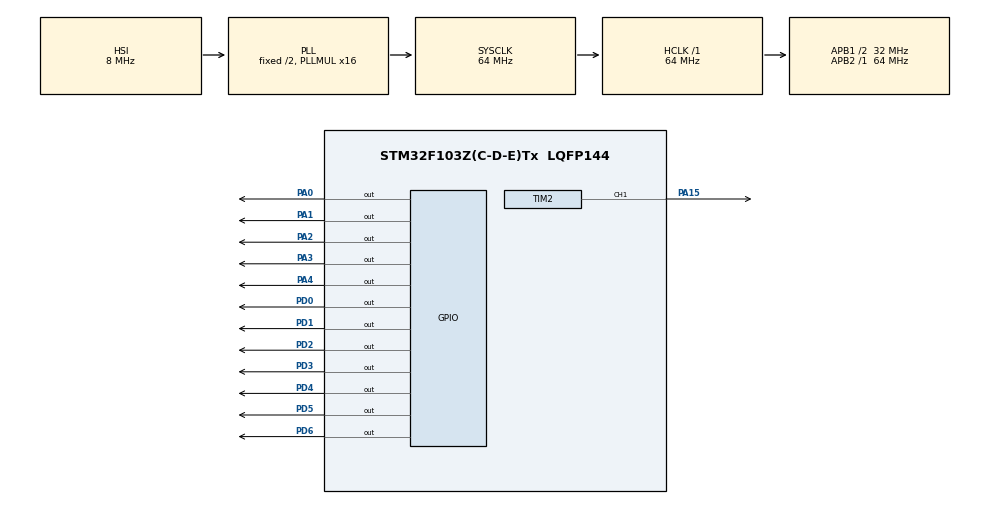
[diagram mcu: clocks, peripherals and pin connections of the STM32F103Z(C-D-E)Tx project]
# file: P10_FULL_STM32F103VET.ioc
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Mcu.Family=STM32F1
Mcu.Name=STM32F103Z(C-D-E)Tx
Mcu.Package=LQFP144
NVIC.PriorityGroup=NVIC_PRIORITYGROUP_4
NVIC.TIM1_UP_IRQn=true\:0\:0\:false\:false\:true\:true
OSC_IN.Mode=HSE-External-Oscillator
OSC_IN.Signal=RCC_OSC_IN
OSC_OUT.Mode=HSE-External-Oscillator
OSC_OUT.Signal=RCC_OSC_OUT
PA0-WKUP.GPIO_Speed=GPIO_SPEED_FREQ_HIGH
PA0-WKUP.PinState=GPIO_PIN_SET
PA0-WKUP.Signal=GPIO_Output
PA1.GPIO_Speed=GPIO_SPEED_FREQ_HIGH
PA1.PinState=GPIO_PIN_SET
PA1.Signal=GPIO_Output
PA13.Mode=Serial_Wire
PA13.Signal=SYS_JTMS-SWDIO
PA14.Mode=Serial_Wire
PA14.Signal=SYS_JTCK-SWCLK
PA15.Signal=S_TIM2_CH1_ETR
PA2.GPIO_Speed=GPIO_SPEED_FREQ_HIGH
PA2.PinState=GPIO_PIN_SET
PA2.Signal=GPIO_Output
PA3.GPIO_Speed=GPIO_SPEED_FREQ_HIGH
PA3.PinState=GPIO_PIN_SET
PA3.Signal=GPIO_Output
PA4.GPIO_Speed=GPIO_SPEED_FREQ_HIGH
PA4.PinState=GPIO_PIN_SET
PA4.Signal=GPIO_Output
PD0.GPIO_Speed=GPIO_SPEED_FREQ_HIGH
PD0.PinState=GPIO_PIN_SET
PD0.Signal=GPIO_Output
PD1.GPIO_Speed=GPIO_SPEED_FREQ_HIGH
PD1.PinState=GPIO_PIN_SET
PD1.Signal=GPIO_Output
PD2.GPIO_Speed=GPIO_SPEED_FREQ_HIGH
PD2.PinState=GPIO_PIN_SET
PD2.Signal=GPIO_Output
PD3.GPIO_Speed=GPIO_SPEED_FREQ_HIGH
PD3.PinState=GPIO_PIN_SET
PD3.Signal=GPIO_Output
PD4.GPIO_Speed=GPIO_SPEED_FREQ_HIGH
PD4.PinState=GPIO_PIN_SET
PD4.Signal=GPIO_Output
PD5.GPIO_Speed=GPIO_SPEED_FREQ_HIGH
PD5.PinState=GPIO_PIN_SET
PD5.Signal=GPIO_Output
PD6.GPIO_Speed=GPIO_SPEED_FREQ_HIGH
PD6.PinState=GPIO_PIN_SET
PD6.Signal=GPIO_Output
ProjectManager.HeapSize=0x200
ProjectManager.StackSize=0x400
ProjectManager.TargetToolchain=MDK-ARM V5
RCC.AHBFreq_Value=64000000
RCC.APB1CLKDivider=RCC_HCLK_DIV2
RCC.APB1Freq_Value=32000000
RCC.APB1TimFreq_Value=64000000
RCC.APB2Freq_Value=64000000
RCC.APB2TimFreq_Value=64000000
RCC.HCLKFreq_Value=64000000
RCC.PLLMUL=RCC_PLL_MUL16
RCC.SYSCLKFreq_VALUE=64000000
RCC.SYSCLKSource=RCC_SYSCLKSOURCE_PLLCLK
RCC.USBFreq_Value=64000000
RTC.Date=7
RTC.Format=RTC_FORMAT_BIN
RTC.Hours=12
RTC.Month=RTC_MONTH_APRIL
RTC.OutPut=RTC_OUTPUTSOURCE_CALIBCLOCK
RTC.WeekDay=RTC_WEEKDAY_TUESDAY
RTC.Year=20
SH.S_TIM2_CH1_ETR.0=TIM2_CH1,Output Compare1 CH1
TIM1.CounterMode=TIM_COUNTERMODE_DOWN
TIM1.Period=40
TIM1.Prescaler=5
TIM2.Channel-Output\ Compare1\ CH1=TIM_CHANNEL_1
TIM2.Period=100
VP_RTC_VS_RTC_Activate.Mode=RTC_Enabled
VP_RTC_VS_RTC_Calendar.Mode=RTC_Calendar
VP_TIM1_VS_ClockSourceINT.Mode=Internal
VP_TIM2_VS_ClockSourceINT.Mode=Internal
board=custom

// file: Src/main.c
/* USER CODE BEGIN Header */
/**
  ******************************************************************************
  * @file           : main.c
  * @brief          : Main program body
  ******************************************************************************
  ** This notice applies to any and all portions of this file
  * that are not between comment pairs USER CODE BEGIN and
  * USER CODE END. Other portions of this file, whether
  * inserted by the user or by software development tools
  * are owned by their respective copyright owners.
  *
  * COPYRIGHT(c) 2020 STMicroelectronics
  *
  * Redistribution and use in source and binary forms, with or without modification,
  * are permitted provided that the following conditions are met:
  *   1. Redistributions of source code must retain the above copyright notice,
  *      this list of conditions and the following disclaimer.
  *   2. Redistributions in binary form must reproduce the above copyright notice,
  *      this list of conditions and the following disclaimer in the documentation
  *      and/or other materials provided with the distribution.
  *   3. Neither the name of STMicroelectronics nor the names of its contributors
  *      may be used to endorse or promote products derived from this software
  *      without specific prior written permission.
  *
  * THIS SOFTWARE IS PROVIDED BY THE COPYRIGHT HOLDERS AND CONTRIBUTORS "AS IS"
  * AND ANY EXPRESS OR IMPLIED WARRANTIES, INCLUDING, BUT NOT LIMITED TO, THE
  * IMPLIED WARRANTIES OF MERCHANTABILITY AND FITNESS FOR A PARTICULAR PURPOSE ARE
  * DISCLAIMED. IN NO EVENT SHALL THE COPYRIGHT HOLDER OR CONTRIBUTORS BE LIABLE
  * FOR ANY DIRECT, INDIRECT, INCIDENTAL, SPECIAL, EXEMPLARY, OR CONSEQUENTIAL
  * DAMAGES (INCLUDING, BUT NOT LIMITED TO, PROCUREMENT OF SUBSTITUTE GOODS OR
  * SERVICES; LOSS OF USE, DATA, OR PROFITS; OR BUSINESS INTERRUPTION) HOWEVER
  * CAUSED AND ON ANY THEORY OF LIABILITY, WHETHER IN CONTRACT, STRICT LIABILITY,
  * OR TORT (INCLUDING NEGLIGENCE OR OTHERWISE) ARISING IN ANY WAY OUT OF THE USE
  * OF THIS SOFTWARE, EVEN IF ADVISED OF THE POSSIBILITY OF SUCH DAMAGE.
  *
  ******************************************************************************
  */
/* USER CODE END Header */

#include "main.h"

/* USER CODE BEGIN Includes */
#include "p10_fullmau.h"
#include "mario.h"

/* USER CODE END Includes */

RTC_HandleTypeDef hrtc;

TIM_HandleTypeDef htim1;
TIM_HandleTypeDef htim2;

void SystemClock_Config(void);
static void MX_GPIO_Init(void);
static void MX_TIM1_Init(void);
static void MX_TIM2_Init(void);
static void MX_RTC_Init(void);

/* USER CODE BEGIN 0 */

#define gioihanfirework 35
unsigned char mangbanphao[10]={gioihanfirework,gioihanfirework,gioihanfirework},mangphunphao[10]={0,0,0},pre_y[10],pre_x[10],checkFireWork=0,checkFunfao=0;

void firework(unsigned char x,unsigned char y, unsigned char  vt,unsigned char r,unsigned char g,unsigned char b){

	if(checkFireWork==1){
			MATRIX_circle(pre_y[vt],x,1,1,0,0,0);
			MATRIX_pixel_color(pre_y[vt]+1,x,0,0,0);
			MATRIX_pixel_color(pre_y[vt]+2,x,0,0,0);
			MATRIX_pixel_color(pre_y[vt]+3,x,0,0,0);
	}
	MATRIX_circle(mangbanphao[vt],x,1,1,255,255,255);
	MATRIX_pixel_color(mangbanphao[vt]+1,x,50,50,50);
	MATRIX_pixel_color(mangbanphao[vt]+2,x,10,10,10);
	MATRIX_pixel_color(mangbanphao[vt]+3,x,5,5,5);

	pre_y[vt]=mangbanphao[vt];
	checkFireWork=1;

	if(mangbanphao[vt]<y){
		MATRIX_circle(mangbanphao[vt],x,1,1,0,0,0);
		MATRIX_pixel_color(mangbanphao[vt]+1,x,0,0,0);
		MATRIX_pixel_color(mangbanphao[vt]+2,x,0,0,0);
		MATRIX_pixel_color(mangbanphao[vt]+3,x,0,0,0);
		MATRIX_circle(mangbanphao[vt],x,1,0,r,g,b);

		if(checkFunfao==1){
			MATRIX_line((y-5)-pre_x[vt],x, (y-4)-pre_x[vt],x, 0,0,0,0);
			MATRIX_line((y+2)+pre_x[vt], x, (y+3)+pre_x[vt],x, 0,0,0,0);
			MATRIX_line(y,(x-5)-pre_x[vt], y, (x-4)-pre_x[vt], 0,0,0,0);
			MATRIX_line(y,(x+2)+pre_x[vt], y, (x+3)+pre_x[vt], 0,0,0,0);

			MATRIX_line((y+1)+pre_x[vt],(x+1)+pre_x[vt], (y+3)+pre_x[vt], (x+3)+pre_x[vt], 0,0,0,0);
			MATRIX_line((y+1)+pre_x[vt],(x-1)-pre_x[vt], (y+3)+pre_x[vt], (x-3)-pre_x[vt], 0,0,0,0);
			MATRIX_line((y-1)-pre_x[vt],(x+1)+pre_x[vt], (y-3)-pre_x[vt], (x+3)+pre_x[vt], 0,0,0,0);
			MATRIX_line((y-1)-pre_x[vt],(x-1)-pre_x[vt], (y-3)-pre_x[vt], (x-3)-pre_x[vt], 0,0,0,0);
		}

		MATRIX_line((y-5)-mangphunphao[vt],x, (y-4)-mangphunphao[vt],x, r,g,b,0);
    MATRIX_line((y+2)+mangphunphao[vt], x, (y+3)+mangphunphao[vt],x, r,g,b,0);
    MATRIX_line(y,(x-5)-mangphunphao[vt], y, (x-4)-mangphunphao[vt], r,g,b,0);
    MATRIX_line(y,(x+2)+mangphunphao[vt], y, (x+3)+mangphunphao[vt], r,g,b,0);

		MATRIX_line((y+1)+mangphunphao[vt],(x+1)+mangphunphao[vt], (y+3)+mangphunphao[vt], (x+3)+mangphunphao[vt], r,g,b,0);
    MATRIX_line((y+1)+mangphunphao[vt],(x-1)-mangphunphao[vt], (y+3)+mangphunphao[vt], (x-3)-mangphunphao[vt], r,g,b,0);
    MATRIX_line((y-1)-mangphunphao[vt],(x+1)+mangphunphao[vt], (y-3)-mangphunphao[vt], (x+3)+mangphunphao[vt], r,g,b,0);
    MATRIX_line((y-1)-mangphunphao[vt],(x-1)-mangphunphao[vt], (y-3)-mangphunphao[vt], (x-3)-mangphunphao[vt], r,g,b,0);

		pre_x[vt]=mangphunphao[vt];

		checkFunfao=1;
		mangphunphao[vt]++;
		if(mangphunphao[vt]>3){
				mangbanphao[vt]=gioihanfirework;
				mangphunphao[vt]=0;
				MATRIX_line((y-5)-pre_x[vt],x, (y-4)-pre_x[vt],x, 0,0,0,0);
				MATRIX_line((y+2)+pre_x[vt], x, (y+3)+pre_x[vt],x, 0,0,0,0);
				MATRIX_line(y,(x-5)-pre_x[vt], y, (x-4)-pre_x[vt], 0,0,0,0);
				MATRIX_line(y,(x+2)+pre_x[vt], y, (x+3)+pre_x[vt], 0,0,0,0);

				MATRIX_line((y+1)+pre_x[vt],(x+1)+pre_x[vt], (y+3)+pre_x[vt], (x+3)+pre_x[vt], 0,0,0,0);
				MATRIX_line((y+1)+pre_x[vt],(x-1)-pre_x[vt], (y+3)+pre_x[vt], (x-3)-pre_x[vt], 0,0,0,0);
				MATRIX_line((y-1)-pre_x[vt],(x+1)+pre_x[vt], (y-3)-pre_x[vt], (x+3)+pre_x[vt], 0,0,0,0);
				MATRIX_line((y-1)-pre_x[vt],(x-1)-pre_x[vt], (y-3)-pre_x[vt], (x-3)-pre_x[vt], 0,0,0,0);
		}
	}
	else{
		mangbanphao[vt]--;
	}

}
unsigned char anhdongfirechay=0;
void anhdongfire(unsigned char y,unsigned char x){
	if(anhdongfirechay==0)      drawImage(y,x,64,32,(uint16_t *)fire_frame_1);
	else if(anhdongfirechay==1) drawImage(y,x,64,32,(uint16_t *)fire_frame_2);
	else if(anhdongfirechay==2) drawImage(y,x,64,32,(uint16_t *)fire_frame_3);
	else if(anhdongfirechay==3) drawImage(y,x,64,32,(uint16_t *)fire_frame_4);
	else if(anhdongfirechay==4) drawImage(y,x,64,32,(uint16_t *)fire_frame_5);
	else if(anhdongfirechay==5) drawImage(y,x,64,32,(uint16_t *)fire_frame_6);
	else if(anhdongfirechay==6) drawImage(y,x,64,32,(uint16_t *)fire_frame_7);
	else if(anhdongfirechay==7) drawImage(y,x,64,32,(uint16_t *)fire_frame_8);
	else if(anhdongfirechay==8) drawImage(y,x,64,32,(uint16_t *)fire_frame_9);

	anhdongfirechay++;
	if(anhdongfirechay>8) anhdongfirechay=0;
}

unsigned char anhdongnyanchay=0;
void anhdongnyancat(unsigned char y,unsigned char x){
	if(anhdongnyanchay==0)      drawImage(y,x,64,32,(uint16_t *)nyan_cat_1);
	else if(anhdongnyanchay==1) drawImage(y,x,64,32,(uint16_t *)nyan_cat_2);
	else if(anhdongnyanchay==2) drawImage(y,x,64,32,(uint16_t *)nyan_cat_3);
	else if(anhdongnyanchay==3) drawImage(y,x,64,32,(uint16_t *)nyan_cat_4);
	else if(anhdongnyanchay==4) drawImage(y,x,64,32,(uint16_t *)nyan_cat_5);
	else if(anhdongnyanchay==5) drawImage(y,x,64,32,(uint16_t *)nyan_cat_6);
	else if(anhdongnyanchay==6) drawImage(y,x,64,32,(uint16_t *)nyan_cat_7);
	else if(anhdongnyanchay==7) drawImage(y,x,64,32,(uint16_t *)nyan_cat_8);

	anhdongnyanchay++;
	if(anhdongnyanchay>7) anhdongnyanchay=0;
}
signed char scrollvt[10],checkScroll[10],prexScroll[10],preyScroll[10];
void Scrolltext16x16(unsigned char x,unsigned char y,unsigned char w,unsigned char ttd,unsigned char a[],unsigned char r,unsigned char g,unsigned char b,unsigned char vt){

	if(checkScroll[vt]==1){
			MATRIX_putStr16x16(x,y+preyScroll[vt],a,0,0,0);
	}
	MATRIX_putStr16x16(x,y+scrollvt[vt],a,r,g,b);
	preyScroll[vt]=scrollvt[vt];

	if(ttd=='p'){
		scrollvt[vt]++;
		if(scrollvt[vt]==w) scrollvt[vt]= - 30;
	}
	else{
		scrollvt[vt]--;
		if(scrollvt[vt]==-w-40) scrollvt[vt]=0;
	}

	checkScroll[vt]=1;

}
void donghokim(unsigned char vtx,unsigned char vty){

	unsigned char offsetx=1,offsety=-3;
	MATRIX_circle(vtx,vty,15,0,255,0,0);
	MATRIX_circle(vtx,vty,14,0,0,0,255);

	///////////////////huong 12 gio////////////////////////////
	MATRIX_line(0+offsetx,vty+offsety,2+offsetx,vty+2+offsety,0,255,0,0);
	MATRIX_line(0+offsetx,vty+2+offsety, 2+offsetx,vty+offsety,0,255,0,0);
	MATRIX_line(0+offsetx,0+offsety+vty+4,2+offsetx,0+offsety+vty+4,0,255,0,0);
	MATRIX_line(0+offsetx,0+offsety+vty+6,2+offsetx,0+offsety+vty+6,0,255,0,0);
	////////////////////huong 9 gio/////////////////////////////
	unsigned char offsetx1=-1,offsety1=3;
	MATRIX_line(vtx+offsetx1,offsety1,vtx+2+offsetx1,2+offsety1,0,255,0,0);
	MATRIX_line(vtx+offsetx1,2+offsety1,vtx+2+offsetx1,0+offsety1,0,255,0,0);

	MATRIX_line(0+vtx+offsetx1,1,2+vtx+offsetx1,1,0,255,0,0);

	///////////////////huong 3 gio////////////////////////////////////////
	MATRIX_line(0+vtx+offsetx1,25,2+vtx+offsetx1,25,0,255,0,0);
	MATRIX_line(0+vtx+offsetx1,27,2+vtx+offsetx1,27,0,255,0,0);
	MATRIX_line(0+vtx+offsetx1,29,2+vtx+offsetx1,29,0,255,0,0);

	//////////////////huong 6 gio////////////////////////////////////////
	MATRIX_line(0+offsetx+26,0+offsety+vty+5,2+offsetx+26,0+offsety+vty+5,0,255,0,0);
	MATRIX_line(0+offsetx+26,vty+2+offsety+2, 2+offsetx+26,vty+offsety+2,0,255,0,0);
	MATRIX_line(0+offsetx+26,vty+offsety,2+offsetx+26,vty+2+offsety,0,255,0,0);

}
/* USER CODE END 0 */

int main(void)
{

  /* MCU Configuration--------------------------------------------------------*/

  /* Reset of all peripherals, Initializes the Flash interface and the Systick. */
  HAL_Init();

  /* Configure the system clock */
  SystemClock_Config();

  /* Initialize all configured peripherals */
  MX_GPIO_Init();
  MX_TIM1_Init();
  MX_TIM2_Init();
  MX_RTC_Init();
  /* USER CODE BEGIN 2 */
	HAL_TIM_Base_Start_IT(&htim1);

	HAL_TIM_Base_Start(&htim2);
	HAL_TIM_PWM_Start(&htim2,TIM_CHANNEL_1);
	__HAL_TIM_SET_COMPARE(&htim2,TIM_CHANNEL_1,40);

	initial_clock();
	unsigned char chay=6;

  /* USER CODE END 2 */

  /* Infinite loop */
  while (1)
  {

    /* USER CODE BEGIN 3 */
			HAL_RTC_GetTime(&hrtc,&sTime,RTC_FORMAT_BIN);
			HAL_RTC_GetDate(&hrtc,&sDate,RTC_FORMAT_BIN);
			hour=sTime.Hours;
			minute=sTime.Minutes;
			second=sTime.Seconds;
			day=sDate.Date;
			month=sDate.Month;
			year=sDate.Year;
		  //drawImage(0,0,64,32,(uint16_t *)mario);
		//	DongHoBig(15,0);
		//	amlich_ht(-2,4);
			//drawImage(0,0,64,32,(uint16_t *)banana_frame_1);
		 //drawImage(0,0,64,32,(uint16_t *)mario);
	   //drawImage(0,0,64,32,(uint16_t *)fire_frame_1);
		 //drawImage(0,0,64,32,(uint16_t *)nyan_cat_1);

		 // firework(15,15,0,255,0,0);
		 // firework(30,20,1,255,255,0);
		 // firework(45,6,2,0,0,255);

		 // latsoto(chay,0,10,0);
		 // chay--;
		 // if(chay==0) chay=6;
			//anhdongfire(0,0);
		//anhdongnyancat(0,0);
		//latsonho(chay,0,0,0);*/

	/*	drawSeg('a',255,0,0);
		drawSeg('b',255,0,0);
		drawSeg('c',255,0,0);
		drawSeg('d',255,0,0);
		drawSeg('e',255,0,0);
		drawSeg('f',255,0,0);
		drawSeg('g',255,0,0);*/

		 // drawDigital(second%10,10,10,255,255,255);
		// setupSeg(6,6);
		// Morph(second%10,1,10,255,255,255,0);
	  // DongHo7Seg(0,0);
		 //plashma(0,0,32,64);

	 // ballGreen(3,3,63,31,3);
	 // ballGreentext(-2,1,62,28,"Đức mt",255,255,0);
	  // Scrolltext16x16(0,0,63,'p',"text",0,255,0,0);
		// Scrolltext16x16(16,63,63,'t',"check",0,0,255,1);
		// green(0,0,63,31,255,0,0);

	//	 MATRIX_putStr16x16(0,0,"Đức",0,0,20);
	//	 MATRIX_putStr16x16(0,1,"Đức",0,0,255);
		//MATRIX_putchar8x8(0,0,'O',4,0,255,0);
	//	MATRIX_putStr8x8(0,0,"HCM spkt",chay,0,0,255);

	//	 drawXorFrame(0,0,63,31);
	//	 ballGreentext(-2,1,62,28,"Đức mt",0,255,0);

		 giaimap10fullmau();
	///	 matrix_p10fullmau_clear_all();
  }
  /* USER CODE END 3 */
}

void SystemClock_Config(void)
{
  RCC_OscInitTypeDef RCC_OscInitStruct = {0};
  RCC_ClkInitTypeDef RCC_ClkInitStruct = {0};
  RCC_PeriphCLKInitTypeDef PeriphClkInit = {0};

  /**Initializes the CPU, AHB and APB busses clocks
  */
  RCC_OscInitStruct.OscillatorType = RCC_OSCILLATORTYPE_HSI|RCC_OSCILLATORTYPE_LSI;
  RCC_OscInitStruct.HSIState = RCC_HSI_ON;
  RCC_OscInitStruct.HSICalibrationValue = RCC_HSICALIBRATION_DEFAULT;
  RCC_OscInitStruct.LSIState = RCC_LSI_ON;
  RCC_OscInitStruct.PLL.PLLState = RCC_PLL_ON;
  RCC_OscInitStruct.PLL.PLLSource = RCC_PLLSOURCE_HSI_DIV2;
  RCC_OscInitStruct.PLL.PLLMUL = RCC_PLL_MUL16;
  if (HAL_RCC_OscConfig(&RCC_OscInitStruct) != HAL_OK)
  {
    Error_Handler();
  }
  /**Initializes the CPU, AHB and APB busses clocks
  */
  RCC_ClkInitStruct.ClockType = RCC_CLOCKTYPE_HCLK|RCC_CLOCKTYPE_SYSCLK
                              |RCC_CLOCKTYPE_PCLK1|RCC_CLOCKTYPE_PCLK2;
  RCC_ClkInitStruct.SYSCLKSource = RCC_SYSCLKSOURCE_PLLCLK;
  RCC_ClkInitStruct.AHBCLKDivider = RCC_SYSCLK_DIV1;
  RCC_ClkInitStruct.APB1CLKDivider = RCC_HCLK_DIV2;
  RCC_ClkInitStruct.APB2CLKDivider = RCC_HCLK_DIV1;

  if (HAL_RCC_ClockConfig(&RCC_ClkInitStruct, FLASH_LATENCY_2) != HAL_OK)
  {
    Error_Handler();
  }
  PeriphClkInit.PeriphClockSelection = RCC_PERIPHCLK_RTC;
  PeriphClkInit.RTCClockSelection = RCC_RTCCLKSOURCE_LSI;
  if (HAL_RCCEx_PeriphCLKConfig(&PeriphClkInit) != HAL_OK)
  {
    Error_Handler();
  }
}

static void MX_RTC_Init(void)
{

  RTC_TimeTypeDef sTime = {0};
  RTC_DateTypeDef DateToUpdate = {0};

  /**Initialize RTC Only
  */
  hrtc.Instance = RTC;
  hrtc.Init.AsynchPrediv = RTC_AUTO_1_SECOND;
  hrtc.Init.OutPut = RTC_OUTPUTSOURCE_CALIBCLOCK;
  if (HAL_RTC_Init(&hrtc) != HAL_OK)
  {
    Error_Handler();
  }

  /**Initialize RTC and set the Time and Date
  */
  sTime.Hours = 12;
  sTime.Minutes = 0;
  sTime.Seconds = 0;

  if (HAL_RTC_SetTime(&hrtc, &sTime, RTC_FORMAT_BIN) != HAL_OK)
  {
    Error_Handler();
  }
  DateToUpdate.WeekDay = RTC_WEEKDAY_TUESDAY;
  DateToUpdate.Month = RTC_MONTH_APRIL;
  DateToUpdate.Date = 7;
  DateToUpdate.Year = 20;

  if (HAL_RTC_SetDate(&hrtc, &DateToUpdate, RTC_FORMAT_BIN) != HAL_OK)
  {
    Error_Handler();
  }

}

static void MX_TIM1_Init(void)
{

  TIM_ClockConfigTypeDef sClockSourceConfig = {0};
  TIM_MasterConfigTypeDef sMasterConfig = {0};

  htim1.Instance = TIM1;
  htim1.Init.Prescaler = 5;
  htim1.Init.CounterMode = TIM_COUNTERMODE_DOWN;
  htim1.Init.Period = 40;
  htim1.Init.ClockDivision = TIM_CLOCKDIVISION_DIV1;
  htim1.Init.RepetitionCounter = 0;
  htim1.Init.AutoReloadPreload = TIM_AUTORELOAD_PRELOAD_DISABLE;
  if (HAL_TIM_Base_Init(&htim1) != HAL_OK)
  {
    Error_Handler();
  }
  sClockSourceConfig.ClockSource = TIM_CLOCKSOURCE_INTERNAL;
  if (HAL_TIM_ConfigClockSource(&htim1, &sClockSourceConfig) != HAL_OK)
  {
    Error_Handler();
  }
  sMasterConfig.MasterOutputTrigger = TIM_TRGO_RESET;
  sMasterConfig.MasterSlaveMode = TIM_MASTERSLAVEMODE_DISABLE;
  if (HAL_TIMEx_MasterConfigSynchronization(&htim1, &sMasterConfig) != HAL_OK)
  {
    Error_Handler();
  }

}

static void MX_TIM2_Init(void)
{

  TIM_ClockConfigTypeDef sClockSourceConfig = {0};
  TIM_MasterConfigTypeDef sMasterConfig = {0};
  TIM_OC_InitTypeDef sConfigOC = {0};

  htim2.Instance = TIM2;
  htim2.Init.Prescaler = 0;
  htim2.Init.CounterMode = TIM_COUNTERMODE_UP;
  htim2.Init.Period = 100;
  htim2.Init.ClockDivision = TIM_CLOCKDIVISION_DIV1;
  htim2.Init.AutoReloadPreload = TIM_AUTORELOAD_PRELOAD_DISABLE;
  if (HAL_TIM_Base_Init(&htim2) != HAL_OK)
  {
    Error_Handler();
  }
  sClockSourceConfig.ClockSource = TIM_CLOCKSOURCE_INTERNAL;
  if (HAL_TIM_ConfigClockSource(&htim2, &sClockSourceConfig) != HAL_OK)
  {
    Error_Handler();
  }
  if (HAL_TIM_OC_Init(&htim2) != HAL_OK)
  {
    Error_Handler();
  }
  sMasterConfig.MasterOutputTrigger = TIM_TRGO_RESET;
  sMasterConfig.MasterSlaveMode = TIM_MASTERSLAVEMODE_DISABLE;
  if (HAL_TIMEx_MasterConfigSynchronization(&htim2, &sMasterConfig) != HAL_OK)
  {
    Error_Handler();
  }
  sConfigOC.OCMode = TIM_OCMODE_TIMING;
  sConfigOC.Pulse = 0;
  sConfigOC.OCPolarity = TIM_OCPOLARITY_HIGH;
  sConfigOC.OCFastMode = TIM_OCFAST_DISABLE;
  if (HAL_TIM_OC_ConfigChannel(&htim2, &sConfigOC, TIM_CHANNEL_1) != HAL_OK)
  {
    Error_Handler();
  }
  HAL_TIM_MspPostInit(&htim2);

}

static void MX_GPIO_Init(void)
{
  GPIO_InitTypeDef GPIO_InitStruct = {0};

  /* GPIO Ports Clock Enable */
  __HAL_RCC_GPIOA_CLK_ENABLE();
  __HAL_RCC_GPIOD_CLK_ENABLE();

  /*Configure GPIO pin Output Level */
  HAL_GPIO_WritePin(GPIOA, GPIO_PIN_0|GPIO_PIN_1|GPIO_PIN_2|GPIO_PIN_3
                          |GPIO_PIN_4, GPIO_PIN_SET);

  /*Configure GPIO pin Output Level */
  HAL_GPIO_WritePin(GPIOD, GPIO_PIN_0|GPIO_PIN_1|GPIO_PIN_2|GPIO_PIN_3
                          |GPIO_PIN_4|GPIO_PIN_5|GPIO_PIN_6, GPIO_PIN_SET);

  /*Configure GPIO pins : PA0 PA1 PA2 PA3
                           PA4 */
  GPIO_InitStruct.Pin = GPIO_PIN_0|GPIO_PIN_1|GPIO_PIN_2|GPIO_PIN_3
                          |GPIO_PIN_4;
  GPIO_InitStruct.Mode = GPIO_MODE_OUTPUT_PP;
  GPIO_InitStruct.Pull = GPIO_NOPULL;
  GPIO_InitStruct.Speed = GPIO_SPEED_FREQ_HIGH;
  HAL_GPIO_Init(GPIOA, &GPIO_InitStruct);

  /*Configure GPIO pins : PD0 PD1 PD2 PD3
                           PD4 PD5 PD6 */
  GPIO_InitStruct.Pin = GPIO_PIN_0|GPIO_PIN_1|GPIO_PIN_2|GPIO_PIN_3
                          |GPIO_PIN_4|GPIO_PIN_5|GPIO_PIN_6;
  GPIO_InitStruct.Mode = GPIO_MODE_OUTPUT_PP;
  GPIO_InitStruct.Pull = GPIO_NOPULL;
  GPIO_InitStruct.Speed = GPIO_SPEED_FREQ_HIGH;
  HAL_GPIO_Init(GPIOD, &GPIO_InitStruct);

}

void Error_Handler(void)
{
}

/************************ (C) COPYRIGHT STMicroelectronics *****END OF FILE****/
